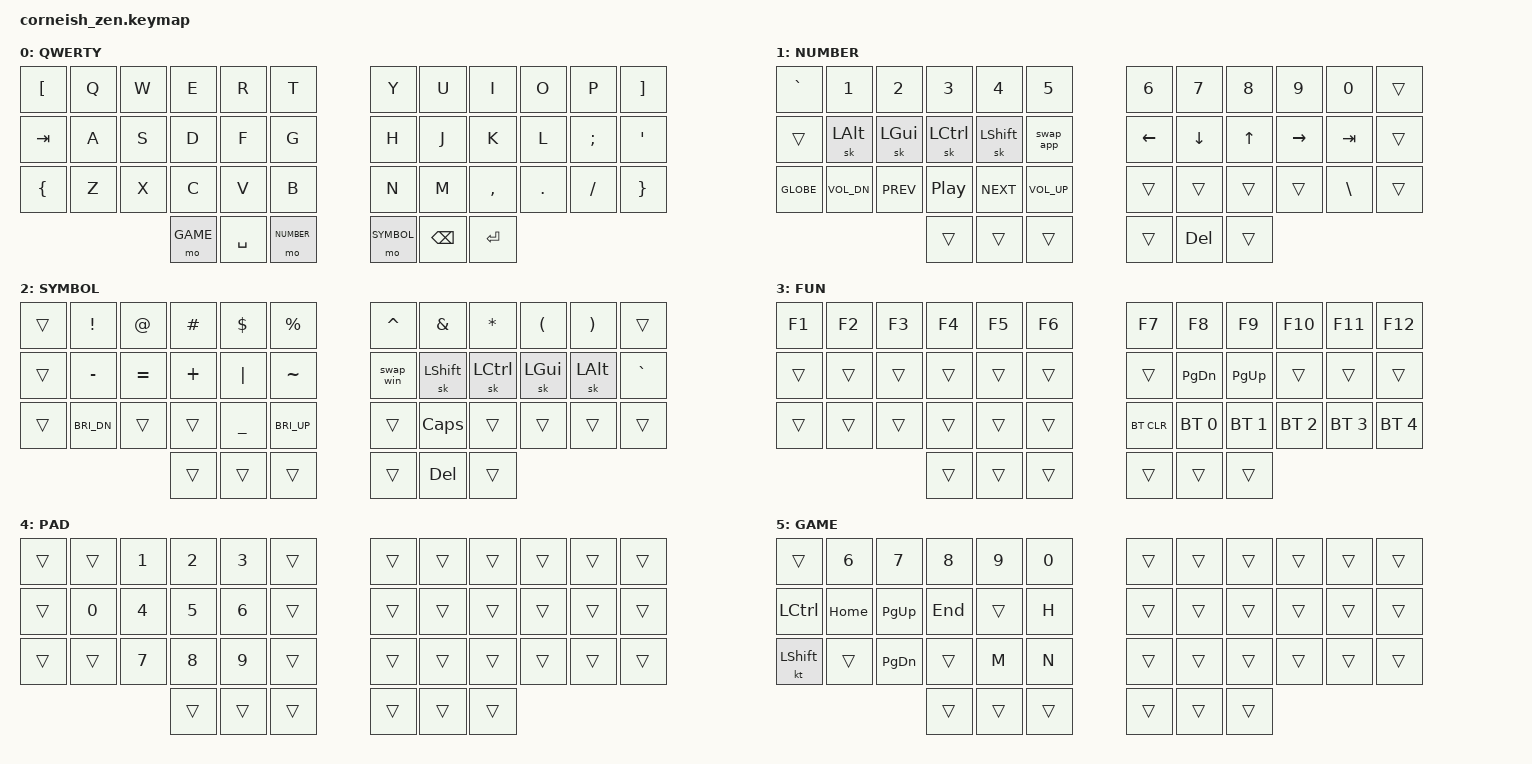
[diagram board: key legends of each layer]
/*
*
* Copyright (c) 2021 Darryl deHaan
* SPDX-License-Identifier: MIT
*
*/

#include <behaviors.dtsi>
#include <dt-bindings/zmk/keys.h>
#include <dt-bindings/zmk/bt.h>

#define QWERTY   0
#define NUMBER   1
#define SYMBOL   2
#define FUN      3
#define PAD      4
#define GAME     5

/ {
  chosen {
    zmk,matrix_transform = &default_transform;
    //zmk,matrix_transform = &five_column_transform;
  };
};

/ {
    conditional_layers {
        compatible = "zmk,conditional-layers";
        tri_layer {
            if-layers = <NUMBER SYMBOL>;
            then-layer = <FUN>;
        };
    };
};

/ {
    combos {
        compatible = "zmk,combos";
        combo_esc {
            timeout-ms = <50>;
            key-positions = <15 16>;
            bindings = <&kp ESC>;
        };
        combo_pad {
            timeout-ms = <50>;
            key-positions = <19 20>;
            bindings = <&mo PAD>;
        };
    };
};

/ {
    macros {
        zed_em_kay: zed_em_kay {
            label = "ZM_zed_em_kay";
            compatible = "zmk,behavior-macro";
            #binding-cells = <0>;
            bindings
                = <&macro_press &kp LSHFT>
                , <&macro_tap &kp Z &kp M &kp K>
                , <&macro_pause_for_release>
                , <&macro_tap &kp M &kp A &kp C>
                , <&macro_release &kp LSHFT>
                ;
        };
        swap_app: swap_app {
            label = "swap_app_macro";
            compatible = "zmk,behavior-macro";
            #binding-cells = <0>;
            bindings
                = <&macro_press &kp LGUI>
                , <&macro_tap &kp TAB>
                , <&macro_pause_for_release>
                , <&macro_release &kp LGUI>
                ;
        };
        swap_win: swap_win {
            label = "swap_win_macro";
            compatible = "zmk,behavior-macro";
            #binding-cells = <0>;
            bindings
                = <&macro_press &kp LGUI &kp LSHIFT>
                , <&macro_tap &kp GRAVE>
                , <&macro_pause_for_release>
                , <&macro_release &kp LGUI &kp LSHIFT>
                ;
        };
    };
};

&sk {
    // release-after-ms = <2000>;
    release-after-ms = <5000>;
    quick-release;
    // /delete-property/ ignore-modifiers;
};

/ {
        keymap {
                compatible = "zmk,keymap";

                qwerty_layer {
                        label = "QWERTY";
                        bindings = <
//    ┌─────┬───┬───┬───┬─────────┬─────┐               ┌───────────┬──────┬─────┬───┬───┬───┐
//    │  [  │ Q │ W │ E │    R    │  T  │               │     Y     │  U   │  I  │ O │ P │ ] │
//    ├─────┼───┼───┼───┼─────────┼─────┤               ├───────────┼──────┼─────┼───┼───┼───┤
//    │ tab │ A │ S │ D │    F    │  G  │               │     H     │  J   │  K  │ L │ ; │ ' │
//    ├─────┼───┼───┼───┼─────────┼─────┤               ├───────────┼──────┼─────┼───┼───┼───┤
//    │  {  │ Z │ X │ C │    V    │  B  │               │     N     │  M   │  ,  │ . │ / │ } │
//    └─────┴───┴───┴───┼─────────┼─────┼───────────┐   ├───────────┼──────┼─────┼───┴───┴───┘
//                      │ mo GAME │ spc │ mo NUMBER │   │ mo SYMBOL │ bspc │ ent │
//                      └─────────┴─────┴───────────┘   └───────────┴──────┴─────┘
  &kp LBKT   &kp Q   &kp W   &kp E   &kp R      &kp T                        &kp Y        &kp U      &kp I       &kp O     &kp P      &kp RBKT
  &kp TAB    &kp A   &kp S   &kp D   &kp F      &kp G                        &kp H        &kp J      &kp K       &kp L     &kp SEMI   &kp SQT
  &kp LBRC   &kp Z   &kp X   &kp C   &kp V      &kp B                        &kp N        &kp M      &kp COMMA   &kp DOT   &kp FSLH   &kp RBRC
                                     &mo GAME   &kp SPACE   &mo NUMBER       &mo SYMBOL   &kp BSPC   &kp RET
                        >;
                };

                /* left thumb */
                number_layer {
                        label = "NUMBER";
                        bindings = <
//    ┌───────┬──────────┬──────────┬──────────┬──────────┬───────────┐         ┌──────┬──────┬─────┬──────┬─────┬─────┐
//    │   `   │    1     │    2     │    3     │    4     │     5     │         │  6   │  7   │  8  │  9   │  0  │     │
//    ├───────┼──────────┼──────────┼──────────┼──────────┼───────────┤         ├──────┼──────┼─────┼──────┼─────┼─────┤
//    │       │ &sk lalt │ &sk lgui │ &sk lctl │ &sk lsft │ &swap_app │         │ left │ down │ up  │ rght │ tab │     │
//    ├───────┼──────────┼──────────┼──────────┼──────────┼───────────┤         ├──────┼──────┼─────┼──────┼─────┼─────┤
//    │ GLOBE │   vold   │   prev   │   play   │   next   │   volu    │         │      │      │     │      │  \  │     │
//    └───────┴──────────┴──────────┴──────────┼──────────┼───────────┼─────┐   ├──────┼──────┼─────┼──────┴─────┴─────┘
//                                             │          │           │     │   │      │ del  │     │
//                                             └──────────┴───────────┴─────┘   └──────┴──────┴─────┘
  &kp GRAVE   &kp N1         &kp N2       &kp N3      &kp N4       &kp N5                      &kp N6     &kp N7     &kp N8   &kp N9      &kp N0     &trans
  &trans      &sk LALT       &sk LGUI     &sk LCTRL   &sk LSHIFT   &swap_app                   &kp LEFT   &kp DOWN   &kp UP   &kp RIGHT   &kp TAB    &trans
  &kp GLOBE   &kp C_VOL_DN   &kp C_PREV   &kp C_PP    &kp C_NEXT   &kp C_VOL_UP                &trans     &trans     &trans   &trans      &kp BSLH   &trans
                                                      &trans       &trans         &trans       &trans     &kp DEL    &trans
                        >;
                };

                /* right thumb */
                symbol_layer {
                        label = "SYMBOL";
                        bindings = <
//    ┌─────┬──────┬─────┬─────┬─────┬──────┐         ┌───────────┬──────────┬──────────┬──────────┬──────────┬─────┐
//    │     │  !   │  @  │  #  │  $  │  %   │         │     ^     │    &     │    *     │    (     │    )     │     │
//    ├─────┼──────┼─────┼─────┼─────┼──────┤         ├───────────┼──────────┼──────────┼──────────┼──────────┼─────┤
//    │     │  -   │  =  │  +  │  |  │  ~   │         │ &swap_win │ &sk lsft │ &sk lctl │ &sk lgui │ &sk lalt │  `  │
//    ├─────┼──────┼─────┼─────┼─────┼──────┤         ├───────────┼──────────┼──────────┼──────────┼──────────┼─────┤
//    │     │ bri- │     │     │  _  │ bri+ │         │           │   caps   │          │          │          │     │
//    └─────┴──────┴─────┴─────┼─────┼──────┼─────┐   ├───────────┼──────────┼──────────┼──────────┴──────────┴─────┘
//                             │     │      │     │   │           │   del    │          │
//                             └─────┴──────┴─────┘   └───────────┴──────────┴──────────┘
  &trans   &kp EXCL       &kp AT      &kp HASH   &kp DLLR    &kp PRCNT                   &kp CARET   &kp AMPS       &kp STAR    &kp LPAR   &kp RPAR   &trans
  &trans   &kp MINUS      &kp EQUAL   &kp PLUS   &kp PIPE    &kp TILDE                   &swap_win   &sk LSHIFT     &sk LCTRL   &sk LGUI   &sk LALT   &kp GRAVE
  &trans   &kp C_BRI_DN   &trans      &trans     &kp UNDER   &kp C_BRI_UP                &trans      &kp CAPSLOCK   &trans      &trans     &trans     &trans
                                                 &trans      &trans         &trans       &trans      &kp DEL        &trans
                        >;
                };

                /* both thumbs */
                fun_layer {
                        label = "FUN";
                        bindings = <
//    ┌─────┬─────┬─────┬─────┬─────┬─────┐         ┌────────┬──────────┬──────────┬──────────┬──────────┬──────────┐
//    │ f1  │ f2  │ f3  │ f4  │ f5  │ f6  │         │   f7   │    f8    │    f9    │   f10    │   f11    │   f12    │
//    ├─────┼─────┼─────┼─────┼─────┼─────┤         ├────────┼──────────┼──────────┼──────────┼──────────┼──────────┤
//    │     │     │     │     │     │     │         │        │   pgdn   │   pgup   │          │          │          │
//    ├─────┼─────┼─────┼─────┼─────┼─────┤         ├────────┼──────────┼──────────┼──────────┼──────────┼──────────┤
//    │     │     │     │     │     │     │         │ bt_clr │ bt_sel 0 │ bt_sel 1 │ bt_sel 2 │ bt_sel 3 │ bt_sel 4 │
//    └─────┴─────┴─────┴─────┼─────┼─────┼─────┐   ├────────┼──────────┼──────────┼──────────┴──────────┴──────────┘
//                            │     │     │     │   │        │          │          │
//                            └─────┴─────┴─────┘   └────────┴──────────┴──────────┘
  &kp F1   &kp F2   &kp F3   &kp F4   &kp F5   &kp F6                &kp F7       &kp F8         &kp F9         &kp F10        &kp F11        &kp F12
  &trans   &trans   &trans   &trans   &trans   &trans                &trans       &kp PG_DN      &kp PG_UP      &trans         &trans         &trans
  &trans   &trans   &trans   &trans   &trans   &trans                &bt BT_CLR   &bt BT_SEL 0   &bt BT_SEL 1   &bt BT_SEL 2   &bt BT_SEL 3   &bt BT_SEL 4
                                      &trans   &trans   &trans       &trans       &trans         &trans
                        >;
                };

                /* combo */
                 pad_layer {
                         label = "PAD";
                         bindings = <
//    ┌─────┬─────┬───┬───┬─────┬─────┐         ┌─────┬─────┬─────┬─────┬─────┬─────┐
//    │     │     │ 1 │ 2 │  3  │     │         │     │     │     │     │     │     │
//    ├─────┼─────┼───┼───┼─────┼─────┤         ├─────┼─────┼─────┼─────┼─────┼─────┤
//    │     │  0  │ 4 │ 5 │  6  │     │         │     │     │     │     │     │     │
//    ├─────┼─────┼───┼───┼─────┼─────┤         ├─────┼─────┼─────┼─────┼─────┼─────┤
//    │     │     │ 7 │ 8 │  9  │     │         │     │     │     │     │     │     │
//    └─────┴─────┴───┴───┼─────┼─────┼─────┐   ├─────┼─────┼─────┼─────┴─────┴─────┘
//                        │     │     │     │   │     │     │     │
//                        └─────┴─────┴─────┘   └─────┴─────┴─────┘
  &trans   &trans   &kp N1   &kp N2   &kp N3   &trans                &trans   &trans   &trans   &trans   &trans   &trans
  &trans   &kp N0   &kp N4   &kp N5   &kp N6   &trans                &trans   &trans   &trans   &trans   &trans   &trans
  &trans   &trans   &kp N7   &kp N8   &kp N9   &trans                &trans   &trans   &trans   &trans   &trans   &trans
                                      &trans   &trans   &trans       &trans   &trans   &trans
                         >;
                 };

                /* combo */
                 game_layer {
                         label = "GAME";
                         bindings = <
//    ┌─────────┬──────┬──────┬─────┬─────┬─────┐         ┌─────┬─────┬─────┬─────┬─────┬─────┐
//    │         │  6   │  7   │  8  │  9  │  0  │         │     │     │     │     │     │     │
//    ├─────────┼──────┼──────┼─────┼─────┼─────┤         ├─────┼─────┼─────┼─────┼─────┼─────┤
//    │  lctl   │ home │ pgup │ end │     │  H  │         │     │     │     │     │     │     │
//    ├─────────┼──────┼──────┼─────┼─────┼─────┤         ├─────┼─────┼─────┼─────┼─────┼─────┤
//    │ kt lsft │      │ pgdn │     │  M  │  N  │         │     │     │     │     │     │     │
//    └─────────┴──────┴──────┴─────┼─────┼─────┼─────┐   ├─────┼─────┼─────┼─────┴─────┴─────┘
//                                  │     │     │     │   │     │     │     │
//                                  └─────┴─────┴─────┘   └─────┴─────┴─────┘
  &trans       &kp N6     &kp N7      &kp N8    &kp N9   &kp N0                &trans   &trans   &trans   &trans   &trans   &trans
  &kp LCTRL    &kp HOME   &kp PG_UP   &kp END   &trans   &kp H                 &trans   &trans   &trans   &trans   &trans   &trans
  &kt LSHIFT   &trans     &kp PG_DN   &trans    &kp M    &kp N                 &trans   &trans   &trans   &trans   &trans   &trans
                                                &trans   &trans   &trans       &trans   &trans   &trans
                         >;
                 };
        };
};
